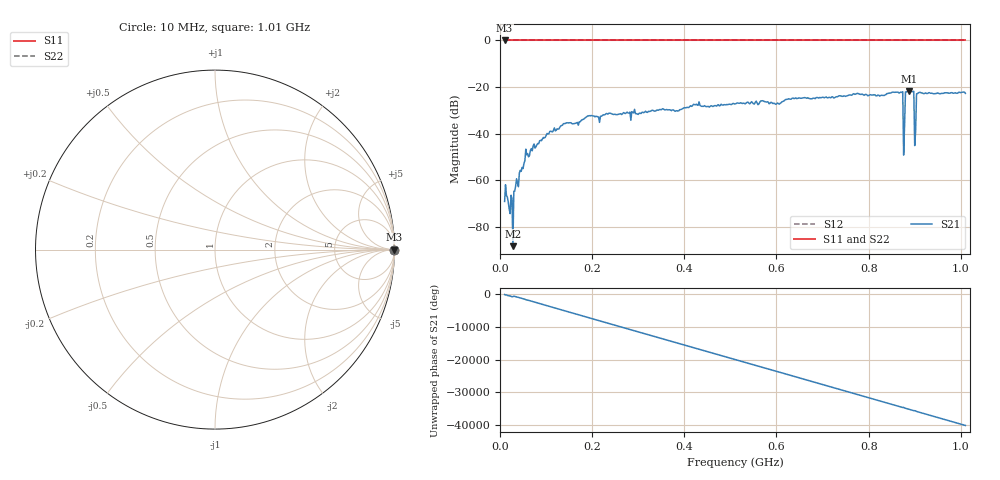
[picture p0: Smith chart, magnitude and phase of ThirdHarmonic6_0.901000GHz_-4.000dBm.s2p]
! 8/16/2025 5:32:37 AM
! C:\ANRITSUVNA\TEMP\TEMP.S2P
! CHANNEL.1
! TR.MEASUREMENT
! RAW.DATA
! RF.CORRECTION.OFF
! AVERAGING.OFF
! IF.BANDWIDTH: 5KHZ
! SWEEPTYPE:  FREQ.SWEEP(Linear)
! Reference Plane Port Info
! PORT:  PORT1  PORT2
! DISTANCE:  0  m  0  m
! TIME:  0  s  0  s
! PHASE.OFFSET:  0  deg.  0  deg.
! LOSS:  0  dB  0  dB
! REF.LOSS:  0  dB  0  dB
! REF.FREQ:  0  Hz  0  Hz
! Power Info
! POWER:  -20  dBm  -20  dBm
! EFF.POWER:  -20  dBm  -20  dBm
! SOURCE.ATTEN:  0  dB  0  dB
! TEST.ATTEN:  0  dB  0  dB
# GHZ S RI R 50.0
! FREQ.GHZ  S11RE  S11IM  S21RE  S21IM  S12RE  S12IM  S22RE  S22IM
!; PortSelection: Port_12
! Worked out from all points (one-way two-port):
!   501 points, 10 MHz to 1.01 GHz, reference 50 ohm
!   highest |S21| = -21.85 dB at 888 MHz (marker M1); lowest = -88.4 dB at 28 MHz (marker M2)
!   lowest |S11| = 0.0 dB at 10 MHz (marker M3)
!   |S11| at or under -10 dB: nowhere
!   |S22| runs from 0.0 to 0.0 dB; largest |S21 - S12| = 1.1
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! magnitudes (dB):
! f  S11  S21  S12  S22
! 10 MHz  0.0  -69.2  0.0  0.0
! 24 MHz  0.0  -66.5  0.0  0.0
! 28 MHz  0.0  -88.4  0.0  0.0
! 34 MHz  0.0  -62.5  0.0  0.0
! 56 MHz  0.0  -46.7  0.0  0.0
! 70 MHz  0.0  -47.4  0.0  0.0
! 136 MHz  0.0  -36.3  0.0  0.0
! 178 MHz  0.0  -34.1  0.0  0.0
! 344 MHz  0.0  -30.0  0.0  0.0
! 510 MHz  0.0  -27.3  0.0  0.0
! 678 MHz  0.0  -25.0  0.0  0.0
! 844 MHz  0.0  -22.6  0.0  0.0
! 870 MHz  0.0  -22.2  0.0  0.0
! 874 MHz  0.0  -22.0  0.0  0.0
! 880 MHz  0.0  -22.1  0.0  0.0
! 884 MHz  0.0  -22.0  0.0  0.0
! 888 MHz  0.0  -21.9  0.0  0.0
! 894 MHz  0.0  -22.0  0.0  0.0
! 898 MHz  0.0  -21.9  0.0  0.0
! 904 MHz  0.0  -23.0  0.0  0.0
! 908 MHz  0.0  -22.5  0.0  0.0
! 1.01 GHz  0.0  -22.7  0.0  0.0
